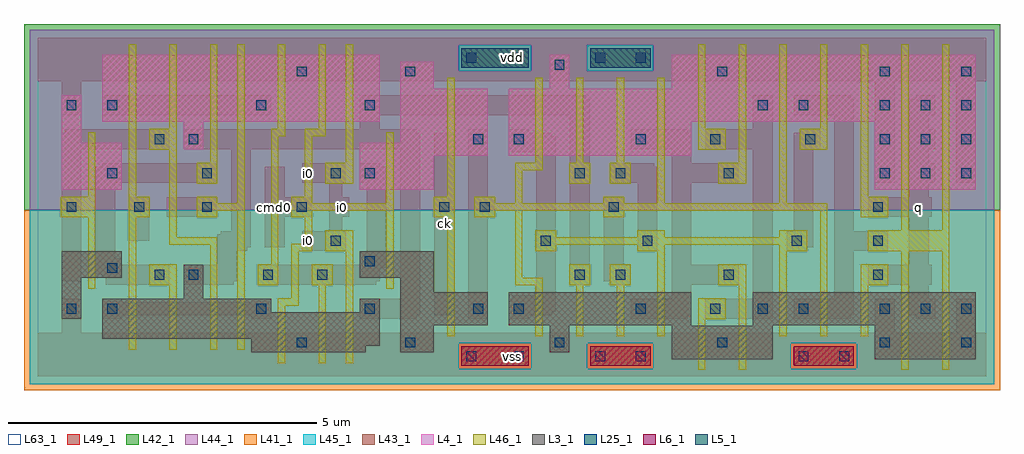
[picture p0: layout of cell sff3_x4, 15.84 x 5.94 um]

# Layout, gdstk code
import gdstk
lib = gdstk.Library(unit=1e-6, precision=1e-09)
def R(c, l, rs):  # rectangles x0, y0, x1, y1
    for r in rs: c.add(gdstk.rectangle(r[:2], r[2:], *l))
def A(c, l, x, y, w, h, nx, ny, dx, dy):  # array of equal rectangles
    R(c, l, [(x+i*dx, y+j*dy, x+i*dx+w, y+j*dy+h) for i in range(nx) for j in range(ny)])
L3_1 = (3, 1)
L4_1 = (4, 1)
L5_1 = (5, 1)
L6_1 = (6, 1)
L25_1 = (25, 1)
L41_1 = (41, 1)
L42_1 = (42, 1)
L43_1 = (43, 1)
L44_1 = (44, 1)
L45_1 = (45, 1)
L46_1 = (46, 1)
L49_1 = (49, 1)
L63_1 = (63, 1)

sff3_x4 = lib.new_cell('sff3_x4')
R(sff3_x4, L3_1, [(10.29,0.28,11.93,0.82), (13.59,0.28,15.23,0.83), (3.47,0.39,5.33,0.5), (5.89,0.39,6.43,0.83), (8.31,0.39,8.63,0.83), (3.47,0.5,5.55,0.61), (1.05,0.61,5.55,1.04), (10.29,0.82,10.61,0.83), (11.61,0.82,11.93,0.83), (5.89,0.83,7.31,1.37), (7.65,0.83,10.61,1.37), (11.61,0.83,15.23,1.37), (0.39,0.94,0.71,1.6), (1.05,1.04,3.79,1.26), (5.23,1.04,5.55,1.26), (2.37,1.26,2.69,1.81), (5.89,1.37,6.43,1.6), (0.39,1.6,1.37,2.03), (5.23,1.6,6.43,2.03)])
R(sff3_x4, L4_1, [(0.39,3.03,1.37,3.79), (5.23,3.03,6.43,3.58), (13.59,3.03,15.23,4.13), (5.23,3.58,7.31,3.79), (7.65,3.58,10.61,4.13), (2.37,3.69,2.69,4.13), (0.39,3.79,0.71,4.56), (5.89,3.79,7.31,4.67), (1.05,4.13,5.55,5.22), (7.65,4.13,15.23,4.67), (5.89,4.67,6.43,5.11), (8.31,4.67,8.63,5.22), (10.29,4.67,15.23,5.22)])
R(sff3_x4, L5_1, [(6.88,5.01,7.97,5.33), (8.97,5.01,9.95,5.33)])
R(sff3_x4, L6_1, [(6.88,0.17,7.97,0.49), (8.97,0.17,9.95,0.49), (12.27,0.17,13.25,0.49)])
A(sff3_x4, L25_1, 4.21, 0.47, 0.16, 0.16, 1, 3, 0, 2.2)
A(sff3_x4, L25_1, 8.39, 0.47, 0.16, 0.16, 3, 1, 2.64, 0)
A(sff3_x4, L25_1, 3.55, 1.02, 0.16, 0.16, 3, 1, 1.76, 0)
A(sff3_x4, L25_1, 13.67, 1.02, 0.16, 0.16, 3, 2, 0.66, 2.2)
A(sff3_x4, L25_1, 13.56, 1.57, 0.16, 0.16, 1, 3, 0, 0.55)
A(sff3_x4, L25_1, 0.47, 2.67, 0.16, 0.16, 3, 1, 1.1, 0)
A(sff3_x4, L25_1, 13.67, 3.77, 0.16, 0.16, 3, 2, 0.66, 0.55)
R(sff3_x4, L25_1, [(6.96,0.25,7.12,0.41), (7.73,0.25,7.89,0.41), (9.05,0.25,9.21,0.41), (9.71,0.25,9.87,0.41), (12.35,0.25,12.51,0.41), (13.01,0.25,13.17,0.41), (5.97,0.47,6.13,0.63), (14.99,0.47,15.15,0.63), (0.47,1.02,0.63,1.18), (1.13,1.02,1.29,1.18), (7.73,1.02,7.89,1.18), (9.71,1.02,9.87,1.18), (10.92,1.02,11.08,1.18), (11.69,1.02,11.85,1.18), (12.35,1.02,12.51,1.18), (1.9,1.57,2.06,1.73), (2.45,1.57,2.61,1.73), (3.66,1.57,3.82,1.73), (4.54,1.57,4.7,1.73), (8.72,1.57,8.88,1.73), (9.38,1.57,9.54,1.73), (11.14,1.57,11.3,1.73), (1.13,1.68,1.29,1.84), (5.31,1.79,5.47,1.95), (4.76,2.12,4.92,2.28), (8.17,2.12,8.33,2.28), (9.82,2.12,9.98,2.28), (12.24,2.12,12.4,2.28), (6.52,2.67,6.68,2.83), (7.18,2.67,7.34,2.83), (9.27,2.67,9.43,2.83), (1.13,3.22,1.29,3.38), (2.67,3.22,2.83,3.38), (4.76,3.22,4.92,3.38), (5.31,3.22,5.47,3.38), (8.72,3.22,8.88,3.38), (9.38,3.22,9.54,3.38), (11.14,3.22,11.3,3.38), (1.9,3.77,2.06,3.93), (2.45,3.77,2.61,3.93), (7.07,3.77,7.23,3.93), (7.73,3.77,7.89,3.93), (9.71,3.77,9.87,3.93), (10.92,3.77,11.08,3.93), (12.46,3.77,12.62,3.93), (0.47,4.32,0.63,4.48), (1.13,4.32,1.29,4.48), (3.55,4.32,3.71,4.48), (5.31,4.32,5.47,4.48), (11.69,4.32,11.85,4.48), (12.35,4.32,12.51,4.48), (5.97,4.87,6.13,5.03), (11.03,4.87,11.19,5.03), (13.67,4.87,13.83,5.03), (14.99,4.87,15.15,5.03), (8.39,4.98,8.55,5.14), (6.96,5.09,7.12,5.25), (7.73,5.09,7.89,5.25), (9.05,5.09,9.21,5.25), (9.71,5.09,9.87,5.25)])
R(sff3_x4, L41_1, [(-0.22,-0.22,15.62,2.695)])
R(sff3_x4, L42_1, [(-0.22,2.695,15.62,5.72)])
R(sff3_x4, L43_1, [(6.88,0.17,7.97,0.49), (8.97,0.17,9.95,0.49), (12.27,0.17,13.25,0.49), (10.29,0.28,11.93,0.82), (13.59,0.28,15.23,0.83), (3.47,0.39,5.33,0.5), (5.89,0.39,6.43,0.83), (8.31,0.39,8.63,0.83), (3.47,0.5,5.55,0.61), (1.05,0.61,5.55,1.04), (10.29,0.82,10.61,0.83), (11.61,0.82,11.93,0.83), (5.89,0.83,7.31,1.37), (7.65,0.83,10.61,1.37), (11.61,0.83,15.23,1.37), (0.39,0.94,0.71,1.6), (1.05,1.04,3.79,1.26), (5.23,1.04,5.55,1.26), (2.37,1.26,2.69,1.81), (5.89,1.37,6.43,1.6), (0.39,1.6,1.37,2.03), (5.23,1.6,6.43,2.03), (0.39,3.03,1.37,3.79), (5.23,3.03,6.43,3.58), (13.59,3.03,15.23,4.13), (5.23,3.58,7.31,3.79), (7.65,3.58,10.61,4.13), (2.37,3.69,2.69,4.13), (0.39,3.79,0.71,4.56), (5.89,3.79,7.31,4.67), (1.05,4.13,5.55,5.22), (7.65,4.13,15.23,4.67), (5.89,4.67,6.43,5.11), (8.31,4.67,8.63,5.22), (10.29,4.67,15.23,5.22), (6.88,5.01,7.97,5.33), (8.97,5.01,9.95,5.33)])
R(sff3_x4, L44_1, [(6.835,0.125,8.015,0.535), (8.925,0.125,9.995,0.535), (12.225,0.125,13.295,0.535), (-0.125,2.695,15.525,4.965), (-0.125,4.965,6.835,5.375), (8.015,4.965,8.925,5.375), (9.995,4.965,15.525,5.375), (-0.125,5.375,15.525,5.625)])
R(sff3_x4, L45_1, [(-0.125,-0.125,15.525,0.125), (-0.125,0.125,6.835,0.535), (8.015,0.125,8.925,0.535), (9.995,0.125,12.225,0.535), (13.295,0.125,15.525,0.535), (-0.125,0.535,15.525,2.695), (6.835,4.965,8.015,5.375), (8.925,4.965,9.995,5.375)])
A(sff3_x4, L46_1, 8.08, 0.655, 0.12, 0.825, 3, 1, 0.66, 0)
A(sff3_x4, L46_1, 8.08, 3.47, 0.12, 1.375, 3, 1, 0.66, 0)
R(sff3_x4, L46_1, [(10.72,0.105,10.84,0.93), (11.38,0.105,11.5,1.48), (14.02,0.105,14.14,2.03), (14.68,0.105,14.8,2.03), (3.9,0.215,4.02,1.15), (4.56,0.215,4.68,1.48), (5,0.215,5.12,2.03), (1.48,0.435,1.6,2.58), (2.14,0.435,2.26,1.48), (2.8,0.435,2.92,2.14), (3.24,0.435,3.36,2.69), (6.65,0.655,6.77,2.58), (10.06,0.655,10.18,2.03), (12.04,0.655,12.16,2.03), (12.7,0.655,12.82,2.69), (13.36,0.655,13.48,1.48), (10.72,0.93,11.17,1.27), (3.9,1.15,4.24,1.27), (4.12,1.27,4.24,2.03), (0.82,1.425,0.94,2.58), (5.66,1.425,5.78,2.69), (1.81,1.48,2.26,1.82), (3.57,1.48,3.91,1.82), (4.45,1.48,4.79,1.82), (7.75,1.48,8.2,1.6), (8.63,1.48,8.97,1.82), (9.29,1.48,9.63,1.82), (11.05,1.48,11.5,1.82), (13.36,1.48,13.81,1.82), (7.75,1.6,7.87,2.69), (3.79,1.82,3.91,3.9), (4.12,2.03,4.46,2.15), (4.67,2.03,5.12,2.37), (8.08,2.03,8.42,2.14), (9.73,2.03,10.18,2.14), (12.04,2.03,12.49,2.14), (13.47,2.03,14.8,2.37), (2.14,2.14,2.92,2.26), (8.08,2.14,12.49,2.26), (4.34,2.15,4.46,2.58), (2.14,2.26,2.26,3.68), (8.08,2.26,8.42,2.37), (9.73,2.26,10.18,2.37), (12.04,2.26,12.49,2.37), (14.02,2.37,14.14,5.395), (14.68,2.37,14.8,5.395), (0.38,2.58,0.94,2.92), (1.48,2.58,1.82,2.92), (2.58,2.58,2.92,2.69), (4.12,2.58,4.46,2.69), (6.43,2.58,6.77,2.92), (7.09,2.58,7.43,2.69), (9.18,2.58,9.52,2.69), (13.36,2.58,13.81,2.92), (2.58,2.69,3.36,2.81), (4.12,2.69,5.78,2.81), (7.09,2.69,12.82,2.81), (2.58,2.81,2.92,2.92), (3.24,2.81,3.36,5.395), (4.12,2.81,4.46,2.92), (5.66,2.81,5.78,3.965), (7.09,2.81,7.43,2.92), (7.75,2.81,7.87,3.35), (9.18,2.81,9.52,2.92), (10.06,2.81,10.18,4.845), (12.04,2.81,12.16,5.395), (0.82,2.92,0.94,3.965), (1.48,2.92,1.6,5.395), (4.34,2.92,4.46,3.9), (6.65,2.92,6.77,4.845), (13.36,2.92,13.48,5.395), (2.58,3.13,2.92,3.47), (4.67,3.13,5.12,3.47), (8.63,3.13,8.97,3.47), (9.29,3.13,9.63,3.47), (11.05,3.13,11.5,3.47), (7.75,3.35,8.2,3.47), (2.8,3.47,2.92,5.395), (5,3.47,5.12,5.395), (11.38,3.47,11.5,5.395), (1.81,3.68,2.26,4.02), (10.72,3.68,11.17,4.02), (12.37,3.68,12.82,4.02), (3.79,3.9,4.02,4.02), (4.34,3.9,4.68,4.02), (2.14,4.02,2.26,5.395), (3.9,4.02,4.02,5.395), (4.56,4.02,4.68,5.395), (10.72,4.02,10.84,5.395), (12.7,4.02,12.82,5.395)])
A(sff3_x4, L49_1, 14.14, 2.91, 0.32, 0.23, 1, 3, 0, 0.55)
R(sff3_x4, L49_1, [(0,0,15.4,0.71), (0.39,0.71,0.71,1.26), (13.59,0.71,13.91,1.26), (14.91,0.71,15.23,1.26), (1.05,0.94,1.37,0.995), (3.47,0.94,3.79,0.995), (5.23,0.94,6.155,0.995), (6.99,0.94,7.31,2.59), (7.65,0.94,7.97,0.995), (9.63,0.94,10.555,0.995), (10.84,0.94,11.93,1.26), (12.27,0.94,13.195,0.995), (14.25,0.94,14.57,0.995), (1.05,0.995,3.79,1.205), (5.23,0.995,6.21,1.26), (6.44,0.995,6.76,3.955), (7.65,0.995,8.355,1.05), (9.63,0.995,10.61,1.26), (12.27,0.995,13.25,1.26), (14.14,0.995,14.57,1.26), (7.65,1.05,8.41,1.26), (1.05,1.205,1.37,1.26), (3.47,1.205,3.79,1.26), (5.89,1.26,6.21,3.69), (7.705,1.26,8.41,1.315), (10.29,1.26,10.61,1.49), (11.61,1.26,11.93,3.69), (12.93,1.26,13.25,2.04), (14.14,1.26,14.46,1.49), (8.09,1.315,8.41,3.635), (1.105,1.49,2.14,1.6), (2.37,1.49,3.185,1.545), (3.58,1.49,5.495,1.545), (8.64,1.49,8.96,4.24), (9.3,1.49,9.62,1.545), (10.29,1.49,11.38,1.81), (13.48,1.49,14.515,1.81), (0.39,1.545,0.71,3.69), (2.37,1.545,3.24,1.81), (3.58,1.545,5.55,1.765), (9.19,1.545,9.62,1.81), (1.05,1.6,2.14,1.655), (0.94,1.655,2.14,1.81), (3.58,1.765,5.66,1.81), (0.94,1.81,1.37,1.92), (2.92,1.81,3.24,2.04), (5.23,1.81,5.66,2.03), (9.19,1.81,9.51,2.91), (10.29,1.81,10.61,3.14), (14.14,1.81,14.46,2.59), (0.94,1.92,1.26,3.14), (5.34,2.03,5.66,3.14), (2.92,2.04,3.405,2.095), (4.295,2.04,5,2.36), (9.74,2.04,10.06,3.14), (12.16,2.04,12.48,2.095), (12.93,2.04,13.8,2.36), (2.92,2.095,3.46,2.305), (3.69,2.095,4.01,2.59), (12.16,2.095,12.59,2.36), (1.49,2.205,1.81,2.91), (2.975,2.305,3.46,2.36), (3.14,2.36,3.46,3.69), (4.735,2.36,4.945,2.59), (12.27,2.36,12.59,3.69), (12.93,2.36,13.25,4.24), (2.095,2.59,2.91,2.91), (3.69,2.59,4.45,2.91), (4.735,2.59,5.055,2.91), (6.99,2.59,7.42,2.91), (13.48,2.59,14.515,2.91), (3.69,2.91,4.01,3.405), (4.735,2.91,4.945,3.14), (6.99,2.91,7.31,4.01), (0.94,3.14,2.91,3.405), (4.295,3.14,5,3.46), (5.23,3.14,5.66,3.405), (9.3,3.14,10.06,3.405), (10.29,3.14,11.38,3.46), (13.59,3.14,13.91,4.79), (14.14,3.14,14.57,3.46), (14.91,3.14,15.23,4.79), (1.05,3.405,2.91,3.46), (5.23,3.405,5.55,3.46), (9.3,3.405,10.005,3.46), (10.29,3.46,10.61,3.69), (7.705,3.635,8.41,3.69), (0.39,3.69,2.14,3.955), (2.37,3.69,6.21,3.955), (7.65,3.69,8.41,3.9), (9.63,3.69,10.61,3.955), (10.84,3.69,11.93,4.01), (12.27,3.69,12.7,3.955), (14.14,3.69,14.57,4.01), (7.65,3.9,8.355,3.955), (0.445,3.955,2.14,4.01), (2.37,3.955,6.155,4.01), (7.65,3.955,7.97,4.01), (9.63,3.955,10.555,4.01), (12.38,3.955,12.7,4.01), (5.23,4.01,5.55,4.24), (11.61,4.01,11.93,4.56), (0.39,4.24,0.71,4.79), (1.05,4.24,3.79,4.56), (5.23,4.24,8.96,4.505), (12.27,4.24,13.25,4.505), (14.14,4.24,14.57,4.505), (5.23,4.505,8.905,4.56), (12.27,4.505,13.195,4.56), (14.25,4.505,14.57,4.56), (0,4.79,15.4,5.5)])
R(sff3_x4, L63_1, [(0,0,15.4,5.5)])
sff3_x4.add(gdstk.Label('i0', (4.4,2.2), layer=49, texttype=1))
sff3_x4.add(gdstk.Label('i0', (4.4,2.2), layer=49, texttype=1))
sff3_x4.add(gdstk.Label('cmd0', (3.85,2.75), layer=49, texttype=1))
sff3_x4.add(gdstk.Label('i0', (4.95,2.75), layer=49, texttype=1))
sff3_x4.add(gdstk.Label('i0', (4.95,2.75), layer=49, texttype=1))
sff3_x4.add(gdstk.Label('cmd0', (3.85,2.75), layer=49, texttype=1))
sff3_x4.add(gdstk.Label('i0', (4.4,3.3), layer=49, texttype=1))
sff3_x4.add(gdstk.Label('i0', (4.4,3.3), layer=49, texttype=1))
sff3_x4.add(gdstk.Label('ck', (6.6,2.475), layer=49, texttype=1))
sff3_x4.add(gdstk.Label('ck', (6.6,2.475), layer=49, texttype=1))
sff3_x4.add(gdstk.Label('vss', (7.7,0.33), layer=49, texttype=1))
sff3_x4.add(gdstk.Label('vss', (7.7,0.33), layer=49, texttype=1))
sff3_x4.add(gdstk.Label('vdd', (7.7,5.17), layer=49, texttype=1))
sff3_x4.add(gdstk.Label('vdd', (7.7,5.17), layer=49, texttype=1))
sff3_x4.add(gdstk.Label('q', (14.3,2.75), layer=49, texttype=1))
sff3_x4.add(gdstk.Label('q', (14.3,2.75), layer=49, texttype=1))

lib.write_gds('sff3_x4.gds')
